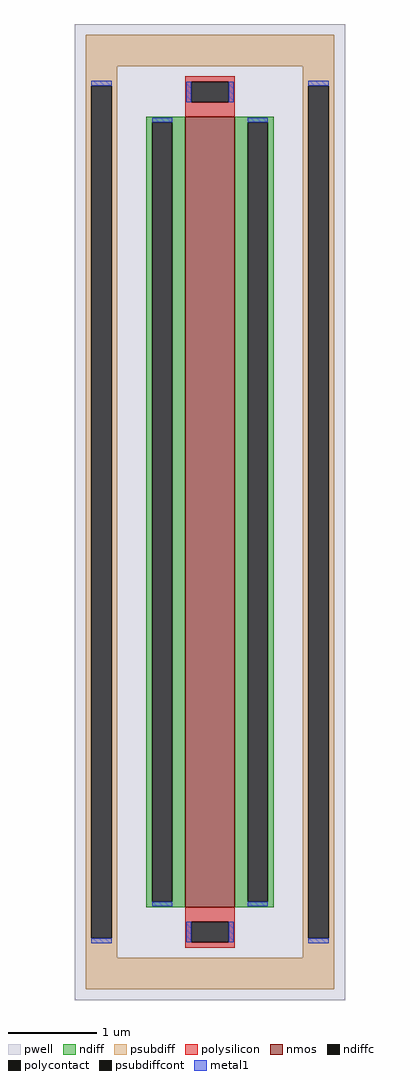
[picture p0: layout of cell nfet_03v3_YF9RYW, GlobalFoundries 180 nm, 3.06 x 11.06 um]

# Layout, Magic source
magic
tech gf180mcuD
magscale 1 10
<< pwell >>
rect -306 -1106 306 1106
<< nmos >>
rect -56 -896 56 896
<< ndiff >>
rect -144 883 -56 896
rect -144 -883 -131 883
rect -85 -883 -56 883
rect -144 -896 -56 -883
rect 56 883 144 896
rect 56 -883 85 883
rect 131 -883 144 883
rect 56 -896 144 -883
<< ndiffc >>
rect -131 -883 -85 883
rect 85 -883 131 883
<< psubdiff >>
rect -282 1010 282 1082
rect -282 966 -210 1010
rect -282 -966 -269 966
rect -223 -966 -210 966
rect 210 966 282 1010
rect -282 -1010 -210 -966
rect 210 -966 223 966
rect 269 -966 282 966
rect 210 -1010 282 -966
rect -282 -1082 282 -1010
<< psubdiffcont >>
rect -269 -966 -223 966
rect 223 -966 269 966
<< polysilicon >>
rect -56 975 56 988
rect -56 929 -43 975
rect 43 929 56 975
rect -56 896 56 929
rect -56 -929 56 -896
rect -56 -975 -43 -929
rect 43 -975 56 -929
rect -56 -988 56 -975
<< polycontact >>
rect -43 929 43 975
rect -43 -975 43 -929
<< metal1 >>
rect -269 966 -223 977
rect -54 929 -43 975
rect 43 929 54 975
rect 223 966 269 977
rect -131 883 -85 894
rect -131 -894 -85 -883
rect 85 883 131 894
rect 85 -894 131 -883
rect -269 -977 -223 -966
rect -54 -975 -43 -929
rect 43 -975 54 -929
rect 223 -977 269 -966
<< properties >>
string FIXED_BBOX -246 -1046 246 1046
string gencell nfet_03v3
string library gf180mcu
string parameters w 8.96 l 0.56 m 1 nf 1 diffcov 100 polycov 100 guard 1 glc 1 grc 1 gtc 0 gbc 0 tbcov 100 rlcov 100 topc 1 botc 1 poverlap 0 doverlap 1 lmin 0.28 wmin 0.22 class mosfet full_metal 0 compatible {nfet_03v3 nfet_05v0 nfet_06v0 nfet_06v0_nvt}
<< end >>
